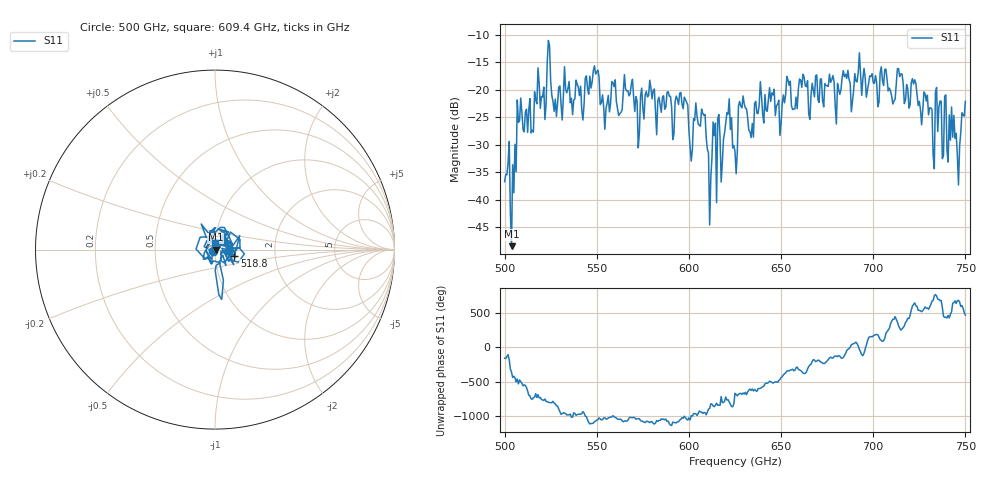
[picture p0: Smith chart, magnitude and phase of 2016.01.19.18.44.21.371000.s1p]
!Created with skrf (http://scikit-rf.org).
# GHz S RI R 50.0
!freq ReS11 ImS11
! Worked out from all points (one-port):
!   401 points, 500 GHz to 750 GHz, reference 50 ohm
!   lowest |S11| = -48.4 dB at 503.8 GHz (marker M1), VSWR 1.01, Z = 50.4 - j0.0174 ohm
!   |S11| at or under -10 dB: start of sweep to end of sweep
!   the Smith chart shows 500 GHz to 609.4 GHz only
!   S11 on the Smith chart (normalised r, x): 500 GHz: 0.97, -0.01; 518.8 GHz: 1.24, -0.09; 609.4 GHz: 0.99, +0.07
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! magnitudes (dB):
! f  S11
! 500 GHz  -36.7
! 503.8 GHz  -48.4
! 508.1 GHz  -25.6
! 518.8 GHz  -18.9
! 524.4 GHz  -12.0
! 526.9 GHz  -23.9
! 531.2 GHz  -25.5
! 549.4 GHz  -17.1
! 553.1 GHz  -20.9
! 559.4 GHz  -19.4
! 562.5 GHz  -24.4
! 593.8 GHz  -21.7
! 601.2 GHz  -33.0
! 609.4 GHz  -28.7
! 611.2 GHz  -44.6
! 620.6 GHz  -24.2
! 625 GHz  -31.2
! 628.1 GHz  -23.0
! 633.8 GHz  -28.7
! 638.1 GHz  -22.8
! 656.2 GHz  -23.6
! 687.5 GHz  -18.8
! 714.4 GHz  -17.6
! 718.8 GHz  -19.8
! 731.9 GHz  -23.6
! 735 GHz  -27.6
! 745.6 GHz  -31.9
! 750 GHz  -22.1
